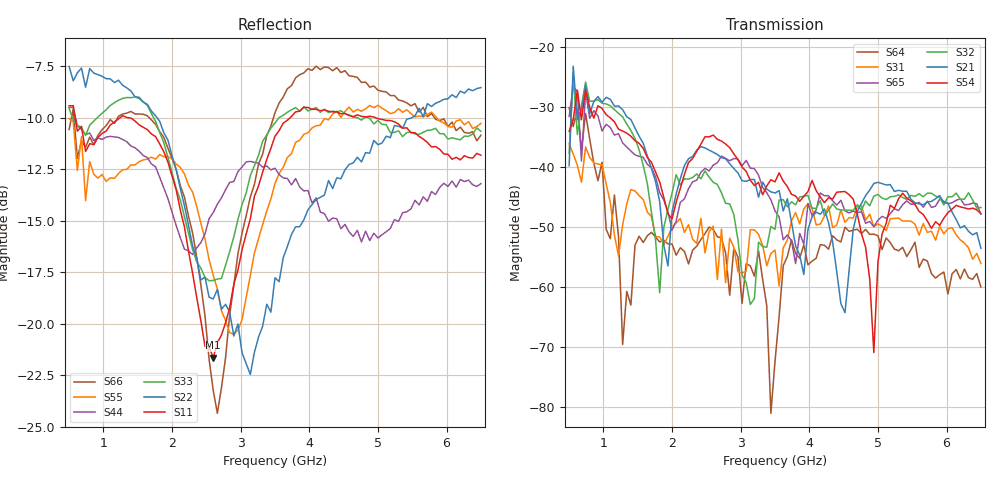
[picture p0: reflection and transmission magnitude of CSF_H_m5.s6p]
!Keysight Technologies,M9804A,MY58100912,A.14.10.03
!Date: Thursday, April 27, 2023 10:28:33
!Correction: S11(C  6-Port  )
!S12(C  6-Port  )
!S13(C  6-Port  )
!S14(C  6-Port  )
!S15(C  6-Port  )
!S16(C  6-Port  )
!S21(C  6-Port  )
!S22(C  6-Port  )
!S23(C  6-Port  )
!S24(C  6-Port  )
!S25(C  6-Port  )
!S26(C  6-Port  )
!S31(C  6-Port  )
!S32(C  6-Port  )
!S33(C  6-Port  )
!S34(C  6-Port  )
!S35(C  6-Port  )
!S36(C  6-Port  )
!S41(C  6-Port  )
!S42(C  6-Port  )
!S43(C  6-Port  )
!S44(C  6-Port  )
!S45(C  6-Port  )
!S46(C  6-Port  )
!S51(C  6-Port  )
!S52(C  6-Port  )
!S53(C  6-Port  )
!S54(C  6-Port  )
!S55(C  6-Port  )
!S56(C  6-Port  )
!S61(C  6-Port  )
!S62(C  6-Port  )
!S63(C  6-Port  )
!S64(C  6-Port  )
!S65(C  6-Port  )
!S66(C  6-Port  )
!S6P File: Measurement: :
# Hz S  RI  R 50
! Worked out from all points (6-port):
!   101 points, 500 MHz to 6.5 GHz, reference 50 ohm
!   strongest paths, dB at 500 MHz, 2 GHz, 3.5 GHz, 5 GHz, 6.5 GHz:
!     S54: -34.1, -48.7, -42.5, -55.9, -47.8
!     S21: -39.8, -47.6, -44.4, -42.6, -53.6
!     S32: -37.8, -44.4, -50.5, -44.6, -46.8
!     S65: -31.6, -50.6, -47.4, -48.9, -47.9
!     S31: -36.2, -50.2, -53.9, -49.5, -56.1
!     S64: -30.2, -52.9, -72.5, -51.5, -60.1
!   lowest |S11| = -21.6 dB at 2.6 GHz (marker M1), VSWR 1.18, Z = 42.6 + j1.98 ohm
!   |S11| at or under -10 dB: 588.8 MHz to 1.239 GHz (650.5 MHz wide, 71.2 % of centre); 1.388 GHz to 3.717 GHz (2.33 GHz wide, 91.3 % of centre); 4.972 GHz to end of sweep
